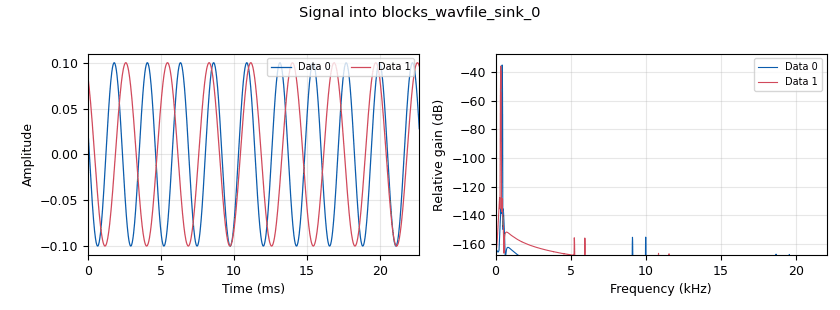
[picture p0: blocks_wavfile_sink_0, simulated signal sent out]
<?xml version='1.0' encoding='utf-8'?>
<?grc format='1' created='3.7.5'?>
<flow_graph>
<block>
<key>options</key>
<param><key>id</key><value>top_block</value></param>
<param><key>generate_options</key><value>wx_gui</value></param>
<param><key>category</key><value>Custom</value></param>
</block>
<block>
<key>variable</key>
<param><key>id</key><value>samp_rate</value></param>
<param><key>value</key><value>44100</value></param>
</block>
<block>
<key>analog_sig_source_x</key>
<param><key>id</key><value>analog_sig_source_x_0_0</value></param>
<param><key>type</key><value>float</value></param>
<param><key>samp_rate</key><value>samp_rate</value></param>
<param><key>waveform</key><value>analog.GR_SIN_WAVE</value></param>
<param><key>freq</key><value>350</value></param>
<param><key>amp</key><value>0.1</value></param>
<param><key>offset</key><value>0</value></param>
</block>
<block>
<key>blocks_throttle</key>
<param><key>id</key><value>blocks_throttle_0</value></param>
<param><key>type</key><value>float</value></param>
<param><key>samples_per_second</key><value>samp_rate</value></param>
</block>
<block>
<key>blocks_wavfile_sink</key>
<param><key>id</key><value>blocks_wavfile_sink_0</value></param>
<param><key>file</key><value>/tutorial/work/dialtone.wav</value></param>
<param><key>nchan</key><value>2</value></param>
<param><key>samp_rate</key><value>samp_rate</value></param>
<param><key>bits_per_sample</key><value>16</value></param>
</block>
<block>
<key>analog_sig_source_x</key>
<param><key>id</key><value>analog_sig_source_x_0</value></param>
<param><key>type</key><value>float</value></param>
<param><key>samp_rate</key><value>samp_rate</value></param>
<param><key>waveform</key><value>analog.GR_SIN_WAVE</value></param>
<param><key>freq</key><value>440</value></param>
<param><key>amp</key><value>0.1</value></param>
<param><key>offset</key><value>0</value></param>
</block>
<connection><source_block_id>analog_sig_source_x_0</source_block_id><sink_block_id>blocks_wavfile_sink_0</sink_block_id><source_key>0</source_key><sink_key>0</sink_key></connection>
<connection><source_block_id>blocks_throttle_0</source_block_id><sink_block_id>blocks_wavfile_sink_0</sink_block_id><source_key>0</source_key><sink_key>1</sink_key></connection>
<connection><source_block_id>analog_sig_source_x_0_0</source_block_id><sink_block_id>blocks_throttle_0</sink_block_id><source_key>0</source_key><sink_key>0</sink_key></connection>
</flow_graph>
